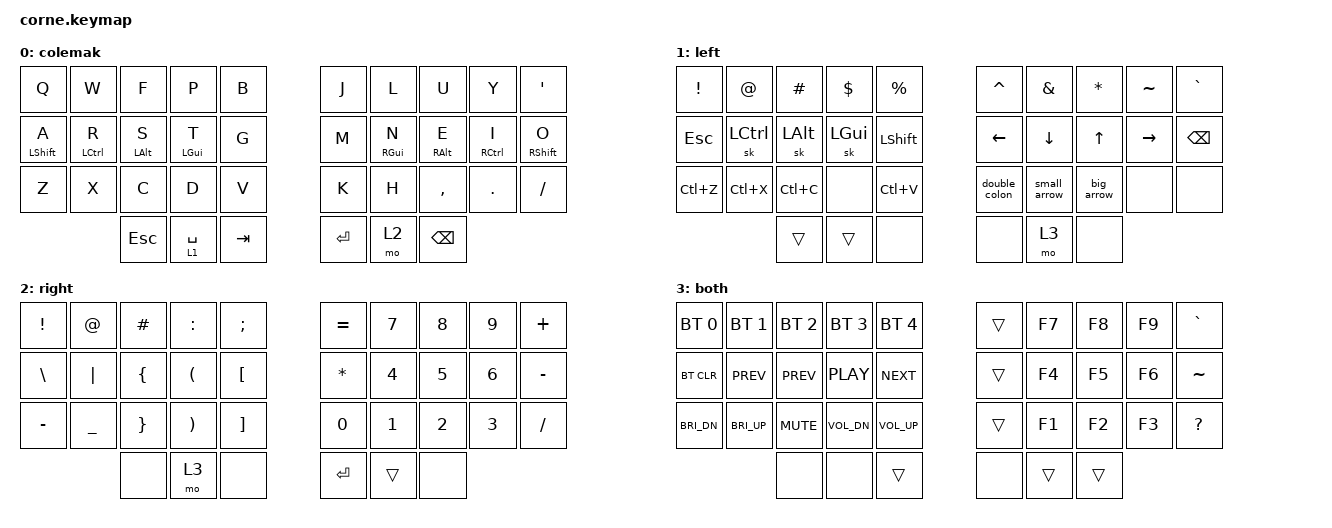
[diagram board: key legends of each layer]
/*
 * Copyright (c) 2020 The ZMK Contributors
 *
 * SPDX-License-Identifier: MIT
 *
 */

 /* 36 KEY MATRIX
  ╭─────────────────────╮ ╭─────────────────────╮
  │  0   1   2   3   4  │ │   5   6   7   8   9 │
  │ 10  11  12  13  14  │ │  15  16  17  18  19 │
  │ 20  21  22  23  24  │ │  25  26  27  28  29 │
  ╰──────╮  30  31  32  │ │  33  34  35 ╭───────╯
         ╰──────────────╯ ╰─────────────╯ 
  */

#include <behaviors.dtsi>
#include <dt-bindings/zmk/bt.h>
#include <dt-bindings/zmk/keys.h>

#define KEYS_L  0  1  2  3  4 10 11 12 13 14 20 21 22 23 24
#define KEYS_R  5  6  7  8  9 15 16 17 18 19 25 26 27 28 29
#define THUMBS 30 31 32 33 34 35

&mt {
    flavor = "tap-preferred";
    tapping_term_ms = <150>;
};

/ {
    chosen {
        zmk,physical-layout = &foostan_corne_5col_layout;
    };

    behaviors {
        hml: home-row-mods-left {
            compatible = "zmk,behavior-hold-tap";
            flavor = "balanced";

            // Time to hold before emitting modifier (280ms matches ZMK "timeless" recipe)
            tapping-term-ms = <280>;
            // Double-tap (two taps within this window) triggers tap-toggle
            quick-tap-ms = <175>;
            #binding-cells = <2>;

            // Must release other keys within this window for hold to register
            require-prior-idle-ms = <150>;
            bindings = <&kp>, <&kp>;

            // rigth hand and thumbs
            hold-trigger-key-positions = <KEYS_R THUMBS>;
            // delay positional check until key-release
            hold-trigger-on-release;
        };

        hmr: home-row-mods-right {
            compatible = "zmk,behavior-hold-tap";
            flavor = "balanced";

            // Time to hold before emitting modifier (280ms matches ZMK "timeless" recipe)
            tapping-term-ms = <280>;
            // Double-tap (two taps within this window) triggers tap-toggle
            quick-tap-ms = <175>;
            #binding-cells = <2>;

            // Must release other keys within this window for hold to register
            require-prior-idle-ms = <150>;
            bindings = <&kp>, <&kp>;

            // left hand and thumbs
            hold-trigger-key-positions = <KEYS_L THUMBS>;
            // delay positional check until key-release
            hold-trigger-on-release;
        };
    };

    macros {
        small_arrow: small_arrow {
            compatible = "zmk,behavior-macro";
            label = "small_arrow";
            #binding-cells = <0>;
            bindings = <&kp MINUS &kp GREATER_THAN>;
            wait-ms = <10>;
        };

        big_arrow: big_arrow {
            compatible = "zmk,behavior-macro";
            label = "big_arrow";
            #binding-cells = <0>;
            bindings = <&kp EQUAL &kp GREATER_THAN>;
            wait-ms = <10>;
        };

        double_colon: double_colon {
            compatible = "zmk,behavior-macro";
            label = "double_colon";
            #binding-cells = <0>;
            bindings = <&kp COLON &kp COLON>;
            wait-ms = <10>;
        };
    };

    keymap {
        compatible = "zmk,keymap";

        default_layer {
            display-name = "colemak";
            bindings = <
                // ╭─────────────┬─────────────┬─────────────┬─────────────┬─────────────╮ ╭─────────────┬─────────────┬─────────────┬─────────────┬─────────────╮ 
                    &kp Q         &kp W         &kp F         &kp P         &kp B           &kp J         &kp L         &kp U         &kp Y         &kp SQT
                // ├─────────────┼─────────────┼─────────────┼─────────────┼─────────────┤ ├─────────────┼─────────────┼─────────────┼─────────────┼─────────────┤
                    &hml LSHFT A  &hml LCTRL R  &hml LALT S   &hml LGUI T   &kp G           &kp M         &hmr RGUI N   &hmr RALT E   &hmr RCTRL I  &hmr RSHFT O
                // ├─────────────┼─────────────┼─────────────┼─────────────┼─────────────┤ ├─────────────┼─────────────┼─────────────┼─────────────┼─────────────┤
                    &kp Z         &kp X         &kp C         &kp D         &kp V           &kp K         &kp H         &kp COMMA     &kp DOT       &kp SLASH
                // ╰─────────────┴─────────────┼─────────────┼─────────────┼─────────────┤ ├─────────────┼─────────────┼─────────────┼─────────────┴─────────────╯
                                                &kp ESC       &lt 1 SPACE   &kp TAB         &kp RET       &mo 2         &kp BSPC 
                //                             ╰─────────────┴─────────────┴─────────────╯ ╰─────────────┴─────────────┴─────────────╯
            >;
        };

        EXT {
            display-name = "left";
            bindings = <
                // ╭─────────────┬─────────────┬─────────────┬─────────────┬─────────────╮ ╭─────────────┬─────────────┬─────────────┬─────────────┬─────────────╮ 
                    &kp EXCL      &kp AT_SIGN   &kp HASH      &kp DOLLAR    &kp PERCENT     &kp CARET      &kp AMPS     &kp ASTERISK  &kp TILDE     &kp GRAVE
                // ├─────────────┼─────────────┼─────────────┼─────────────┼─────────────┤ ├─────────────┼─────────────┼─────────────┼─────────────┼─────────────┤
                    &kp ESC       &sk LCTRL     &sk LALT      &sk LGUI      &kp LSHIFT      &kp LEFT      &kp DOWN      &kp UP        &kp RIGHT     &kp BSPC 
                // ├─────────────┼─────────────┼─────────────┼─────────────┼─────────────┤ ├─────────────┼─────────────┼─────────────┼─────────────┼─────────────┤
                    &kp LC(Z)     &kp LC(X)     &kp LC(C)     &none         &kp LC(V)       &double_colon &small_arrow  &big_arrow    &none         &none
                // ╰─────────────┴─────────────┼─────────────┼─────────────┼─────────────┤ ├─────────────┼─────────────┼─────────────┼─────────────┴─────────────╯
                                                &trans        &trans        &none           &none         &mo 3         &none
                //                             ╰─────────────┴─────────────┴─────────────╯ ╰─────────────┴─────────────┴─────────────╯
            >;
        };

        sym {
            display-name = "right";
            bindings = <
                // ╭─────────────┬─────────────┬─────────────┬─────────────┬─────────────╮ ╭─────────────┬─────────────┬─────────────┬─────────────┬─────────────╮ 
                    &kp EXCL      &kp AT        &kp HASH      &kp COLON     &kp SEMICOLON   &kp EQUAL     &kp N7        &kp N8        &kp N9        &kp PLUS
                // ├─────────────┼─────────────┼─────────────┼─────────────┼─────────────┤ ├─────────────┼─────────────┼─────────────┼─────────────┼─────────────┤
                    &kp BSLH      &kp PIPE      &kp LBRC      &kp LPAR      &kp LBKT        &kp ASTERISK  &kp N4        &kp N5        &kp N6        &kp MINUS
                // ├─────────────┼─────────────┼─────────────┼─────────────┼─────────────┤ ├─────────────┼─────────────┼─────────────┼─────────────┼─────────────┤
                    &kp MINUS     &kp UNDER     &kp RBRC      &kp RPAR      &kp RBKT        &kp N0        &kp N1        &kp N2        &kp N3        &kp FSLH
                // ╰─────────────┴─────────────┼─────────────┼─────────────┼─────────────┤ ├─────────────┼─────────────┼─────────────┼─────────────┴─────────────╯
                                                &none         &mo 3         &none           &kp ENTER     &trans        &none
                //                             ╰─────────────┴─────────────┴─────────────╯ ╰─────────────┴─────────────┴─────────────╯
            >;
        };

        Sym2 {
            display-name = "both";
            bindings = <
                // ╭─────────────┬─────────────┬─────────────┬─────────────┬─────────────╮ ╭─────────────┬─────────────┬─────────────┬─────────────┬─────────────╮ 
                    &bt BT_SEL 0  &bt BT_SEL 1  &bt BT_SEL 2  &bt BT_SEL 3  &bt BT_SEL 4    &trans        &kp F7        &kp F8        &kp F9        &kp GRAVE
                // ├─────────────┼─────────────┼─────────────┼─────────────┼─────────────┤ ├─────────────┼─────────────┼─────────────┼─────────────┼─────────────┤
                    &bt BT_CLR    &kp K_PREV    &kp C_PREV    &kp C_PLAY    &kp C_NEXT      &trans        &kp F4        &kp F5        &kp F6        &kp TILDE
                // ├─────────────┼─────────────┼─────────────┼─────────────┼─────────────┤ ├─────────────┼─────────────┼─────────────┼─────────────┼─────────────┤
                    &kp C_BRI_DN  &kp C_BRI_UP  &kp C_MUTE    &kp C_VOL_DN  &kp C_VOL_UP    &trans        &kp F1        &kp F2        &kp F3        &kp QUESTION
                // ╰─────────────┴─────────────┼─────────────┼─────────────┼─────────────┤ ├─────────────┼─────────────┼─────────────┼─────────────┴─────────────╯
                                                &none         &none         &trans          &none         &trans        &trans
                //                             ╰─────────────┴─────────────┴─────────────╯ ╰─────────────┴─────────────┴─────────────╯
            >;
        };
    };
};
